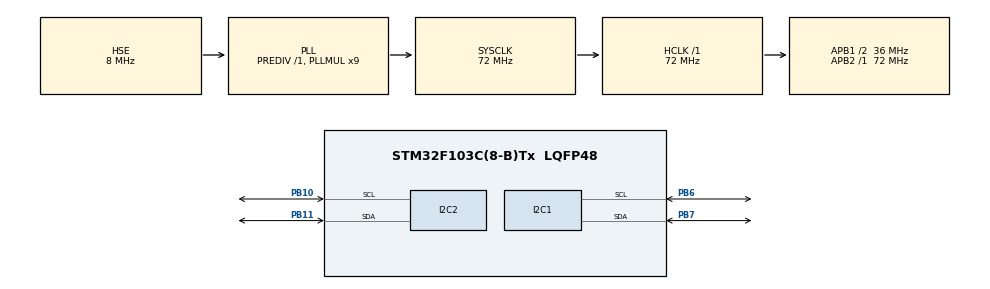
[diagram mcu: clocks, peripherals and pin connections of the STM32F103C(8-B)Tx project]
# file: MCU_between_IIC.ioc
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FREERTOS.Tasks01=MasterTask,0,128,Master_Task,Default,NULL,Dynamic,NULL,NULL;SlaveTask,0,128,Slave_Task,Default,NULL,Dynamic,NULL,NULL
I2C2.OwnAddress=0x50
Mcu.Family=STM32F1
Mcu.Name=STM32F103C(8-B)Tx
Mcu.Package=LQFP48
NVIC.I2C1_ER_IRQn=true\:5\:0\:false\:false\:true\:true\:true\:true\:true
NVIC.I2C1_EV_IRQn=true\:5\:0\:false\:false\:true\:true\:true\:true\:true
NVIC.I2C2_ER_IRQn=true\:5\:0\:false\:false\:true\:true\:true\:true\:true
NVIC.I2C2_EV_IRQn=true\:5\:0\:false\:false\:true\:true\:true\:true\:true
NVIC.PriorityGroup=NVIC_PRIORITYGROUP_4
NVIC.TIM1_UP_IRQn=true\:15\:0\:false\:false\:true\:false\:false\:true\:true
NVIC.TimeBase=TIM1_UP_IRQn
NVIC.TimeBaseIP=TIM1
PA13.Mode=Serial_Wire
PA13.Signal=SYS_JTMS-SWDIO
PA14.Mode=Serial_Wire
PA14.Signal=SYS_JTCK-SWCLK
PB10.Mode=I2C
PB10.Signal=I2C2_SCL
PB11.Mode=I2C
PB11.Signal=I2C2_SDA
PB6.Mode=I2C
PB6.Signal=I2C1_SCL
PB7.Mode=I2C
PB7.Signal=I2C1_SDA
PD0-OSC_IN.Mode=HSE-External-Oscillator
PD0-OSC_IN.Signal=RCC_OSC_IN
PD1-OSC_OUT.Mode=HSE-External-Oscillator
PD1-OSC_OUT.Signal=RCC_OSC_OUT
ProjectManager.HeapSize=0x200
ProjectManager.StackSize=0x400
ProjectManager.TargetToolchain=MDK-ARM V5.32
RCC.AHBFreq_Value=72000000
RCC.APB1CLKDivider=RCC_HCLK_DIV2
RCC.APB1Freq_Value=36000000
RCC.APB1TimFreq_Value=72000000
RCC.APB2Freq_Value=72000000
RCC.APB2TimFreq_Value=72000000
RCC.HCLKFreq_Value=72000000
RCC.PLLMUL=RCC_PLL_MUL9
RCC.PLLSourceVirtual=RCC_PLLSOURCE_HSE
RCC.SYSCLKFreq_VALUE=72000000
RCC.SYSCLKSource=RCC_SYSCLKSOURCE_PLLCLK
RCC.USBFreq_Value=72000000
VP_FREERTOS_VS_CMSIS_V1.Mode=CMSIS_V1
VP_SYS_VS_tim1.Mode=TIM1
board=custom

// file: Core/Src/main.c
/* USER CODE BEGIN Header */
/**
  ******************************************************************************
  * @file           : main.c
  * @brief          : Main program body
  ******************************************************************************
  * @attention
  *
  * Copyright (c) 2026 STMicroelectronics.
  * All rights reserved.
  *
  * This software is licensed under terms that can be found in the LICENSE file
  * in the root directory of this software component.
  * If no LICENSE file comes with this software, it is provided AS-IS.
  *
  ******************************************************************************
  */
/* USER CODE END Header */
#include "main.h"
#include "cmsis_os.h"
#include "i2c.h"
#include "gpio.h"

/* USER CODE BEGIN Includes */
#include "slave.h"
#include "master.h"
/* USER CODE END Includes */

void SystemClock_Config(void);
void MX_FREERTOS_Init(void);

int main(void)
{

  /* MCU Configuration--------------------------------------------------------*/

  /* Reset of all peripherals, Initializes the Flash interface and the Systick. */
  HAL_Init();

  /* Configure the system clock */
  SystemClock_Config();

  /* Initialize all configured peripherals */
  MX_GPIO_Init();
  MX_I2C1_Init();
  MX_I2C2_Init();
  /* USER CODE BEGIN 2 */
  /* 从机寄存器初始化（设置ID、状态、控制等默认值） */
  Slave_Init();

  /* 开启I2C从机监听中断，准备响应主机寻址 */
  HAL_I2C_EnableListen_IT(&hi2c1);
  /* USER CODE END 2 */

  /* Call init function for freertos objects (in cmsis_os2.c) */
  MX_FREERTOS_Init();

  /* Start scheduler */
  osKernelStart();

  /* We should never get here as control is now taken by the scheduler */

  /* Infinite loop */
  while (1)
  {

  }
}

void SystemClock_Config(void)
{
  RCC_OscInitTypeDef RCC_OscInitStruct = {0};
  RCC_ClkInitTypeDef RCC_ClkInitStruct = {0};

  /** Initializes the RCC Oscillators according to the specified parameters
  * in the RCC_OscInitTypeDef structure.
  */
  RCC_OscInitStruct.OscillatorType = RCC_OSCILLATORTYPE_HSE;
  RCC_OscInitStruct.HSEState = RCC_HSE_ON;
  RCC_OscInitStruct.HSEPredivValue = RCC_HSE_PREDIV_DIV1;
  RCC_OscInitStruct.HSIState = RCC_HSI_ON;
  RCC_OscInitStruct.PLL.PLLState = RCC_PLL_ON;
  RCC_OscInitStruct.PLL.PLLSource = RCC_PLLSOURCE_HSE;
  RCC_OscInitStruct.PLL.PLLMUL = RCC_PLL_MUL9;
  if (HAL_RCC_OscConfig(&RCC_OscInitStruct) != HAL_OK)
  {
    Error_Handler();
  }

  /** Initializes the CPU, AHB and APB buses clocks
  */
  RCC_ClkInitStruct.ClockType = RCC_CLOCKTYPE_HCLK|RCC_CLOCKTYPE_SYSCLK
                              |RCC_CLOCKTYPE_PCLK1|RCC_CLOCKTYPE_PCLK2;
  RCC_ClkInitStruct.SYSCLKSource = RCC_SYSCLKSOURCE_PLLCLK;
  RCC_ClkInitStruct.AHBCLKDivider = RCC_SYSCLK_DIV1;
  RCC_ClkInitStruct.APB1CLKDivider = RCC_HCLK_DIV2;
  RCC_ClkInitStruct.APB2CLKDivider = RCC_HCLK_DIV1;

  if (HAL_RCC_ClockConfig(&RCC_ClkInitStruct, FLASH_LATENCY_2) != HAL_OK)
  {
    Error_Handler();
  }
}

void HAL_TIM_PeriodElapsedCallback(TIM_HandleTypeDef *htim)
{
  if (htim->Instance == TIM1)
  {
    HAL_IncTick();
  }
}

void Error_Handler(void)
{
  __disable_irq();
  while (1)
  {
  }
}

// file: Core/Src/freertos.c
/* USER CODE BEGIN Header */
/**
  ******************************************************************************
  * File Name          : freertos.c
  * Description        : Code for freertos applications
  ******************************************************************************
  * @attention
  *
  * Copyright (c) 2026 STMicroelectronics.
  * All rights reserved.
  *
  * This software is licensed under terms that can be found in the LICENSE file
  * in the root directory of this software component.
  * If no LICENSE file comes with this software, it is provided AS-IS.
  *
  ******************************************************************************
  */
/* USER CODE END Header */

#include "FreeRTOS.h"
#include "task.h"
#include "main.h"
#include "cmsis_os.h"

/* USER CODE BEGIN Includes */
#include "slave.h"
#include "master.h"
/* USER CODE END Includes */

osThreadId MasterTaskHandle;
osThreadId SlaveTaskHandle;

void Master_Task(void const * argument);
void Slave_Task(void const * argument);

void MX_FREERTOS_Init(void); /* (MISRA C 2004 rule 8.1) */

/* GetIdleTaskMemory prototype (linked to static allocation support) */
void vApplicationGetIdleTaskMemory( StaticTask_t **ppxIdleTaskTCBBuffer, StackType_t **ppxIdleTaskStackBuffer, uint32_t *pulIdleTaskStackSize );

/* USER CODE BEGIN GET_IDLE_TASK_MEMORY */
static StaticTask_t xIdleTaskTCBBuffer;
static StackType_t xIdleStack[configMINIMAL_STACK_SIZE];

void vApplicationGetIdleTaskMemory( StaticTask_t **ppxIdleTaskTCBBuffer, StackType_t **ppxIdleTaskStackBuffer, uint32_t *pulIdleTaskStackSize )
{
  *ppxIdleTaskTCBBuffer = &xIdleTaskTCBBuffer;
  *ppxIdleTaskStackBuffer = &xIdleStack[0];
  *pulIdleTaskStackSize = configMINIMAL_STACK_SIZE;
  /* place for user code */
}
/* USER CODE END GET_IDLE_TASK_MEMORY */

void MX_FREERTOS_Init(void) {

  /* Create the thread(s) */
  /* definition and creation of MasterTask */
  osThreadDef(MasterTask, Master_Task, osPriorityNormal, 0, 128);
  MasterTaskHandle = osThreadCreate(osThread(MasterTask), NULL);

  /* definition and creation of SlaveTask */
  osThreadDef(SlaveTask, Slave_Task, osPriorityNormal, 0, 128);
  SlaveTaskHandle = osThreadCreate(osThread(SlaveTask), NULL);

}

void Master_Task(void const * argument)
{
  /* USER CODE BEGIN Master_Task */

  /* Infinite loop */
  for(;;)
  {
    /* 1. 读取从机ID，校验通信是否正常 */
    Master_SetID(Master_ReadID());
    if (Master_GetID() != 0xAB)
    {
      /* ID校验失败，通信异常，等待后重试 */
      osDelay(100);
      continue;
    }

    /* 2. 读取状态寄存器，判断从机是否就绪 */
    Master_SetStatus(Master_ReadStatus());
    if ((Master_GetStatus() & 0x01) == 0x00)
    {
      /* 从机未就绪，等待后重试 */
      osDelay(10);
      continue;
    }

    /* 3. 写控制寄存器，启动一次测量 */
    Master_WriteCtrl(0x01);

    /* 等待从机完成测量 */
    osDelay(5);

    /* 4. 按寄存器地址连续读取温度（高8位+低8位） */
    Master_SetTemp(Master_ReadTemperature());

    /* 5. 按寄存器地址连续读取湿度（高8位+低8位） */
    Master_SetHum(Master_ReadHumidity());

    /* 6. 此处可将 temperature / humidity 发送到串口、OLED 等
       例如: printf("Temp=%d, Hum=%d\r\n", temperature, humidity); */

    osDelay(100);
  }
  /* USER CODE END Master_Task */
}

void Slave_Task(void const * argument)
{
  /* USER CODE BEGIN Slave_Task */
  uint16_t sim_temp = 0x1234; /* 模拟温度原始值 */
  uint16_t sim_hum  = 0x5678; /* 模拟湿度原始值 */
  uint8_t  cnt = 0;
  /* Infinite loop */
  for(;;)
  {
    /* 模拟传感器数据更新：将数据写入从机寄存器
       主机通过 I2C 按寄存器地址即可读到这些值 */

    /* 更新温度寄存器（高8位 + 低8位）- 使用 switch-case 寻址 */
    Reg_Write(REG_TEMP_H, (uint8_t)(sim_temp >> 8));
    Reg_Write(REG_TEMP_L, (uint8_t)(sim_temp & 0xFF));

    /* 更新湿度寄存器（高8位 + 低8位）- 使用 switch-case 寻址 */
    Reg_Write(REG_HUM_H, (uint8_t)(sim_hum >> 8));
    Reg_Write(REG_HUM_L, (uint8_t)(sim_hum & 0xFF));

    /* 模拟数据缓慢变化，便于观察主机读取效果 */
    sim_temp += 1;
    sim_hum  += 2;

    /* REG_STATUS 就绪标志翻转：受 REG_CTRL 控制
       REG_CTRL 定义：
         bit0     : 翻转使能 (1=允许翻转, 0=禁止翻转)
         bit7~bit1: 翻转周期 = (bit7~bit1) + 1 次循环
       示例：
         REG_CTRL = 0x00 → 禁止翻转
         REG_CTRL = 0x01 → 每 1 次循环翻转 1 次
         REG_CTRL = 0x13 → 每(0x09+1)=10 次循环翻转 1 次（兼容原默认行为） */
    cnt++;
    {
      uint8_t ctrl = Reg_Read(REG_CTRL);
      uint8_t enable  = ctrl & 0x01;
      uint8_t period  = (ctrl >> 1) + 1;  /* 翻转周期：1 ~ 128 */

      if (enable && (cnt >= period))
      {
        cnt = 0;
        /* 使用 switch-case 读写：先读后写，实现异或翻转 */
        Reg_Write(REG_STATUS, Reg_Read(REG_STATUS) ^ 0x01);
      }
      else if (!enable)
      {
        /* 翻转禁止时，计数器不累积 */
        cnt = 0;
      }
    }

    osDelay(100);
  }
  /* USER CODE END Slave_Task */
}
